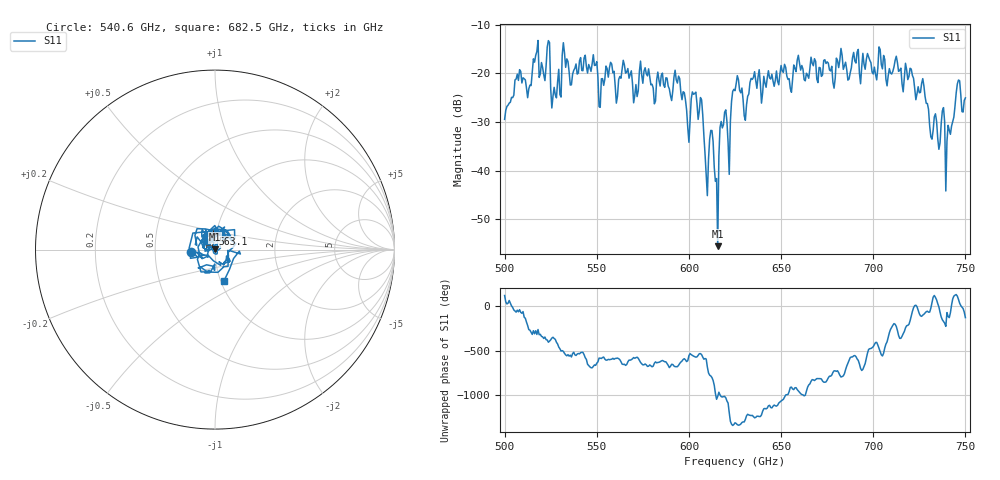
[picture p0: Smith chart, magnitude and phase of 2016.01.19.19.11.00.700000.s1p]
!Created with skrf (http://scikit-rf.org).
# GHz S RI R 50.0
!freq ReS11 ImS11
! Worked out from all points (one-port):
!   401 points, 500 GHz to 750 GHz, reference 50 ohm
!   lowest |S11| = -55.5 dB at 615.6 GHz (marker M1), VSWR 1.00, Z = 50.1 + j0.156 ohm
!   |S11| at or under -10 dB: start of sweep to end of sweep
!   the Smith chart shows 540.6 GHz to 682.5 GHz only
!   S11 on the Smith chart (normalised r, x): 540.6 GHz: 0.76, -0.02; 563.1 GHz: 0.96, +0.17; 682.5 GHz: 1.04, -0.37
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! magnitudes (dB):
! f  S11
! 500 GHz  -29.4
! 507.5 GHz  -21.4
! 513.1 GHz  -23.2
! 516.9 GHz  -16.3
! 523.8 GHz  -13.3
! 526.9 GHz  -22.9
! 531.2 GHz  -16.2
! 540.6 GHz  -17.4
! 562.5 GHz  -20.6
! 563.1 GHz  -21.0
! 593.8 GHz  -22.0
! 599.4 GHz  -31.1
! 606.2 GHz  -25.0
! 609.4 GHz  -41.0
! 611.9 GHz  -31.7
! 615.6 GHz  -55.5
! 618.1 GHz  -31.2
! 621.9 GHz  -40.7
! 625 GHz  -23.5
! 630.6 GHz  -29.6
! 634.4 GHz  -21.2
! 656.2 GHz  -21.2
! 682.5 GHz  -14.9
! 687.5 GHz  -19.9
! 718.8 GHz  -21.3
! 740.6 GHz  -30.7
! 745.6 GHz  -22.2
! 750 GHz  -25.0
